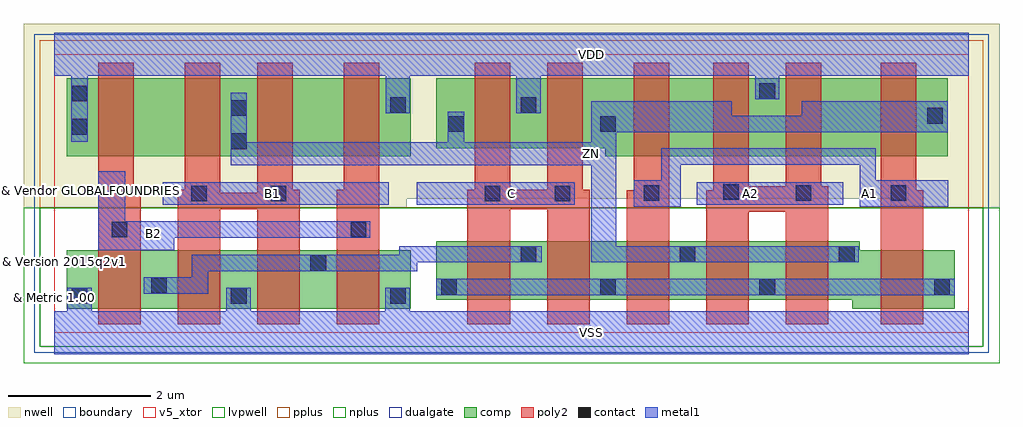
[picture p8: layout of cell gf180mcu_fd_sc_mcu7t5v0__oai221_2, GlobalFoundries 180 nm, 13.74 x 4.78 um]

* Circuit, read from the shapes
.subckt gf180mcu_fd_sc_mcu7t5v0__oai221_2 A1 A2 B1 B2 C VDD VSS ZN
XM1 n1 B2 VSS VSUBS nfet_05v0 w=0.82u l=0.6u m=2
XM2 VSS B1 n1 VSUBS nfet_05v0 w=0.82u l=0.6u m=2
XM3 n1 C n2 VSUBS nfet_05v0 w=0.82u l=0.6u m=2
XM4 ZN A1 n2 VSUBS nfet_05v0 w=0.82u l=0.6u m=2
XM5 n2 A2 ZN VSUBS nfet_05v0 w=0.82u l=0.6u m=2
XM6 n3 B2 VDD n4 pfet_05v0 w=1.095u l=0.5u
XM7 ZN B1 n3 n4 pfet_05v0 w=1.095u l=0.5u
XM8 n5 B1 ZN n4 pfet_05v0 w=1.095u l=0.5u
XM9 VDD B2 n5 n4 pfet_05v0 w=1.095u l=0.5u
XM10 VDD C ZN n4 pfet_05v0 w=0.985u l=0.5u m=2
XM11 n6 A1 ZN n4 pfet_05v0 w=1.095u l=0.5u
XM12 VDD A2 n6 n4 pfet_05v0 w=1.095u l=0.5u
XM13 n7 A2 VDD n4 pfet_05v0 w=1.095u l=0.5u
XM14 ZN A1 n7 n4 pfet_05v0 w=1.095u l=0.5u
.ends

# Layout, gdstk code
import gdstk
lib = gdstk.Library(unit=1e-6, precision=1e-09)
def R(c, l, rs):  # rectangles x0, y0, x1, y1
    for r in rs: c.add(gdstk.rectangle(r[:2], r[2:], *l))
def A(c, l, x, y, w, h, nx, ny, dx, dy):  # array of equal rectangles
    R(c, l, [(x+i*dx, y+j*dy, x+i*dx+w, y+j*dy+h) for i in range(nx) for j in range(ny)])
def P(c, l, *ps):  # polygons
    for p in ps: c.add(gdstk.Polygon(p, *l))
boundary = (0, 0)
nwell = (21, 0)
comp = (22, 0)
poly2 = (30, 0)
pplus = (31, 0)
nplus = (32, 0)
contact = (33, 0)
metal1 = (34, 0)
dualgate = (55, 0)
v5_xtor = (112, 1)
lvpwell = (204, 0)

gf180mcu_fd_sc_mcu7t5v0_ = lib.new_cell('gf180mcu_fd_sc_mcu7t5v0__oai221_2')
R(gf180mcu_fd_sc_mcu7t5v0_, boundary, [(0,0,12.88,3.92)])
P(gf180mcu_fd_sc_mcu7t5v0_, nwell, [(-0.43,1.76),(-0.43,4.35),(13.31,4.35),(13.31,1.76),(11.78,1.76),(11.78,1.885),(4.965,1.885),(4.965,1.76)])
R(gf180mcu_fd_sc_mcu7t5v0_, comp, [(0.18,0.34,5.02,1.16), (0.18,2.485,5.02,3.58)])
P(gf180mcu_fd_sc_mcu7t5v0_, comp, [(7.76,2.485),(7.76,2.595),(5.38,2.595),(5.38,3.58),(12.58,3.58),(12.58,2.485)],
  [(11.24,0.34),(11.24,0.465),(5.38,0.465),(5.38,1.285),(11.34,1.285),(11.34,1.16),(12.68,1.16),(12.68,0.34)])
P(gf180mcu_fd_sc_mcu7t5v0_, poly2, [(0.62,0.12),(0.62,3.8),(1.12,3.8),(1.12,2.01),(1.22,2.01),(1.22,0.12)],
  [(1.74,0.12),(1.74,2.01),(1.84,2.01),(1.84,3.8),(2.34,3.8),(2.34,1.97),(2.86,1.97),(2.86,3.8),(3.36,3.8),(3.36,2.01),(3.46,2.01),(3.46,0.12),(2.86,0.12),(2.86,1.74),(2.34,1.74),(2.34,0.12)],
  [(3.98,0.12),(3.98,2.01),(4.08,2.01),(4.08,3.8),(4.58,3.8),(4.58,0.12)],
  [(5.82,0.12),(5.82,2.01),(5.92,2.01),(5.92,3.8),(6.42,3.8),(6.42,2.01),(6.94,2.01),(6.94,3.8),(7.44,3.8),(7.44,2.01),(7.54,2.01),(7.54,0.12),(6.94,0.12),(6.94,1.74),(6.42,1.74),(6.42,0.12)],
  [(8.06,0.12),(8.06,2.005),(8.16,2.005),(8.16,3.8),(8.66,3.8),(8.66,0.12)],
  [(9.18,0.12),(9.18,2.005),(9.28,2.005),(9.28,3.8),(9.78,3.8),(9.78,2.06),(10.3,2.06),(10.3,3.8),(10.8,3.8),(10.8,2.06),(10.9,2.06),(10.9,0.12),(10.3,0.12),(10.3,1.7),(9.78,1.7),(9.78,0.12)],
  [(11.64,0.12),(11.64,3.8),(12.14,3.8),(12.14,2.005),(12.24,2.005),(12.24,0.12)])
R(gf180mcu_fd_sc_mcu7t5v0_, pplus, [(-0.2,1.76,13.08,4.12)])
R(gf180mcu_fd_sc_mcu7t5v0_, nplus, [(-0.2,-0.2,13.08,1.76)])
A(gf180mcu_fd_sc_mcu7t5v0_, contact, 0.25, 0.41, 0.22, 0.22, 3, 1, 2.24, 0)
A(gf180mcu_fd_sc_mcu7t5v0_, contact, 5.45, 0.535, 0.22, 0.22, 3, 1, 2.24, 0)
A(gf180mcu_fd_sc_mcu7t5v0_, contact, 6.57, 0.995, 0.22, 0.22, 3, 1, 2.24, 0)
R(gf180mcu_fd_sc_mcu7t5v0_, contact, [(12.39,0.535,12.61,0.755), (1.37,0.555,1.59,0.775), (3.61,0.87,3.83,1.09), (0.81,1.345,1.03,1.565), (4.175,1.345,4.395,1.565), (1.93,1.85,2.15,2.07), (3.05,1.85,3.27,2.07), (6.06,1.85,6.28,2.07), (7.05,1.85,7.27,2.07), (8.3,1.855,8.52,2.075), (10.44,1.855,10.66,2.075), (11.78,1.855,12,2.075), (9.42,1.87,9.64,2.09), (2.49,2.585,2.71,2.805), (0.25,2.79,0.47,3.01), (5.55,2.83,5.77,3.05), (7.69,2.83,7.91,3.05), (12.29,2.945,12.51,3.165), (2.49,3.055,2.71,3.275), (4.73,3.095,4.95,3.315), (6.57,3.095,6.79,3.315), (0.25,3.26,0.47,3.48), (9.93,3.29,10.15,3.51)])
R(gf180mcu_fd_sc_mcu7t5v0_, metal1, [(5.38,0.53,12.68,0.76), (1.53,1.8,4.71,2.12), (5.105,1.8,7.33,2.12), (9.05,1.8,11.11,2.12)])
P(gf180mcu_fd_sc_mcu7t5v0_, metal1, [(0.625,1.16),(0.625,2.275),(1,2.275),(1,1.57),(4.455,1.57),(4.455,1.34),(1.69,1.34),(1.69,1.16)],
  [(1.26,0.55),(1.26,0.78),(1.94,0.78),(1.94,1.095),(4.86,1.095),(4.86,1.22),(6.865,1.22),(6.865,0.99),(5.11,0.99),(5.11,0.865),(2.17,0.865),(2.17,0.55)],
  [(7.56,0.99),(7.56,2.36),(2.485,2.36),(2.485,3.375),(2.715,3.375),(2.715,2.68),(5.545,2.68),(5.545,3.11),(5.775,3.11),(5.775,2.68),(7.56,2.68),(7.56,3.26),(9.54,3.26),(9.54,3.055),(10.525,3.055),(10.525,3.26),(12.58,3.26),(12.58,2.825),(7.915,2.825),(7.915,1.22),(11.33,1.22),(11.33,0.99)],
  [(8.16,1.77),(8.16,2.15),(8.55,2.15),(8.55,2.595),(11.57,2.595),(11.57,2.15),(12.59,2.15),(12.59,1.77),(11.34,1.77),(11.34,2.365),(8.82,2.365),(8.82,1.77)],
  [(0,-0.3),(0,0.3),(0.185,0.3),(0.185,0.635),(0.53,0.635),(0.53,0.3),(2.425,0.3),(2.425,0.635),(2.77,0.635),(2.77,0.3),(4.665,0.3),(4.665,0.635),(5.01,0.635),(5.01,0.3),(12.88,0.3),(12.88,-0.3)],
  [(0.245,2.69),(0.245,3.62),(0,3.62),(0,4.22),(12.88,4.22),(12.88,3.62),(10.21,3.62),(10.21,3.285),(9.87,3.285),(9.87,3.62),(6.85,3.62),(6.85,3.09),(6.51,3.09),(6.51,3.62),(5.01,3.62),(5.01,3.09),(4.67,3.09),(4.67,3.62),(0.475,3.62),(0.475,2.69)])
R(gf180mcu_fd_sc_mcu7t5v0_, dualgate, [(-0.28,-0.28,13.16,4.2)])
R(gf180mcu_fd_sc_mcu7t5v0_, v5_xtor, [(0,0,12.88,3.92)])
R(gf180mcu_fd_sc_mcu7t5v0_, lvpwell, [(-0.43,-0.43,13.31,1.76)])
gf180mcu_fd_sc_mcu7t5v0_.add(gdstk.Label('A2', (9.8,1.96), layer=34, texttype=10))
gf180mcu_fd_sc_mcu7t5v0_.add(gdstk.Label('A1', (11.48,1.96), layer=34, texttype=10))
gf180mcu_fd_sc_mcu7t5v0_.add(gdstk.Label('B1', (3.08,1.96), layer=34, texttype=10))
gf180mcu_fd_sc_mcu7t5v0_.add(gdstk.Label('C', (6.44,1.96), layer=34, texttype=10))
gf180mcu_fd_sc_mcu7t5v0_.add(gdstk.Label('B2', (1.4,1.4), layer=34, texttype=10))
gf180mcu_fd_sc_mcu7t5v0_.add(gdstk.Label('ZN', (7.56,2.52), layer=34, texttype=10))
gf180mcu_fd_sc_mcu7t5v0_.add(gdstk.Label('VSS', (7.56,0), layer=34, texttype=10))
gf180mcu_fd_sc_mcu7t5v0_.add(gdstk.Label('VDD', (7.56,3.92), layer=34, texttype=10))
gf180mcu_fd_sc_mcu7t5v0_.add(gdstk.Label('& Vendor GLOBALFOUNDRIES', (0,2), layer=63, texttype=63))
gf180mcu_fd_sc_mcu7t5v0_.add(gdstk.Label('& Product GF018hv5v_mcu_sc7', (0,1.5), layer=63, texttype=63))
gf180mcu_fd_sc_mcu7t5v0_.add(gdstk.Label('& Version 2015q2v1', (0,1), layer=63, texttype=63))
gf180mcu_fd_sc_mcu7t5v0_.add(gdstk.Label('& Metric 1.00', (0,0.5), layer=63, texttype=63))

lib.write_gds('gf180mcu_fd_sc_mcu7t5v0__oai221_2.gds')
